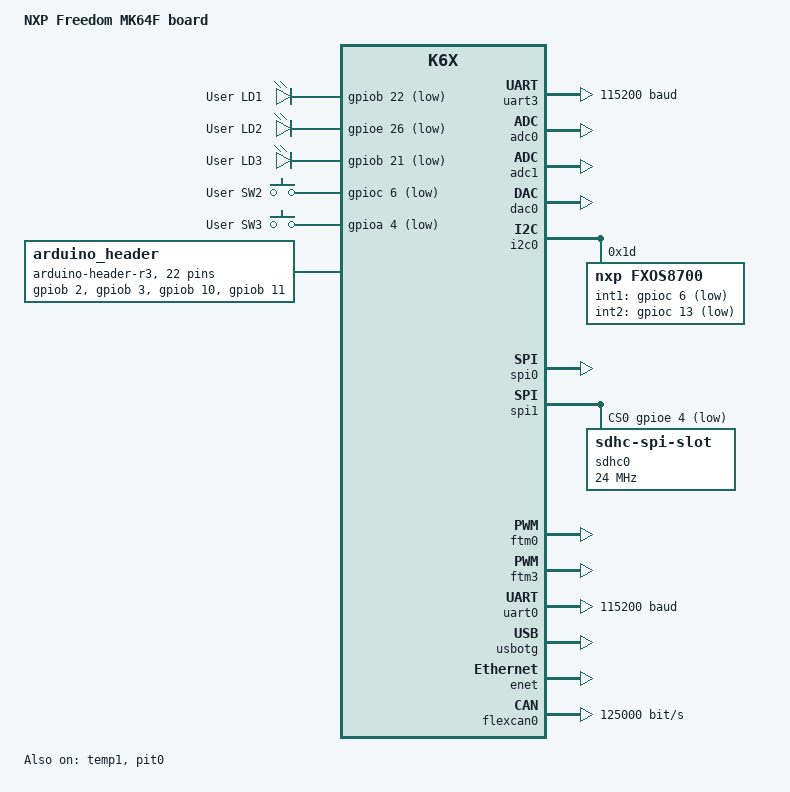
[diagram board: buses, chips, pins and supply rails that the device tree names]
/* SPDX-License-Identifier: Apache-2.0 */

/dts-v1/;

#include <nxp/nxp_k6x.dtsi>
#include "frdm_k64f-pinctrl.dtsi"

/ {
	model = "NXP Freedom MK64F board";
	compatible = "nxp,mk64f12", "nxp,k64f", "nxp,k6x";

	aliases {
		led0 = &green_led;
		led1 = &blue_led;
		led2 = &red_led;
		sw0 = &user_button_3;
		sw1 = &user_button_2;
		magn0 = &fxos8700;
		accel0 = &fxos8700;
	};

	chosen {
		zephyr,sram = &sram0;
		zephyr,flash = &flash0;
		zephyr,code-partition = &slot0_partition;
		zephyr,console = &uart0;
		zephyr,shell-uart = &uart0;
		zephyr,uart-pipe = &uart0;
		zephyr,canbus = &flexcan0;
	};

	leds {
		compatible = "gpio-leds";
		red_led: led_0 {
			gpios = <&gpiob 22 GPIO_ACTIVE_LOW>;
			label = "User LD1";
		};
		green_led: led_1 {
			gpios = <&gpioe 26 GPIO_ACTIVE_LOW>;
			label = "User LD2";
		};
		blue_led: led_2 {
			gpios = <&gpiob 21 GPIO_ACTIVE_LOW>;
			label = "User LD3";
		};
	};

	gpio_keys {
		compatible = "gpio-keys";
		user_button_2: button_0 {
			label = "User SW2";
			gpios = <&gpioc 6 GPIO_ACTIVE_LOW>;
		};
		user_button_3: button_1 {
			label = "User SW3";
			gpios = <&gpioa 4 GPIO_ACTIVE_LOW>;
		};
	};

	arduino_header: connector {
		compatible = "arduino-header-r3";
		#gpio-cells = <2>;
		gpio-map-mask = <0xffffffff 0xffffffc0>;
		gpio-map-pass-thru = <0 0x3f>;
		gpio-map = <0 0 &gpiob 2 0>,	/* A0 */
			   <1 0 &gpiob 3 0>,	/* A1 */
			   <2 0 &gpiob 10 0>,	/* A2 */
			   <3 0 &gpiob 11 0>,	/* A3 */
			   <4 0 &gpioc 11 0>,	/* A4 */
			   <5 0 &gpioc 10 0>,	/* A5 */
			   <6 0 &gpioc 16 0>,	/* D0 */
			   <7 0 &gpioc 17 0>,	/* D1 */
			   <8 0 &gpiob 9 0>,	/* D2 */
			   <9 0 &gpioa 1 0>,	/* D3 */
			   <10 0 &gpiob 23 0>,	/* D4 */
			   <11 0 &gpioa 2 0>,	/* D5 */
			   <12 0 &gpioc 2 0>,	/* D6 */
			   <13 0 &gpioc 3 0>,	/* D7 */
			   /* NOTE: HW Rev D and below use: */
			   /* <14 0 &gpioa 0 0>, */
			   /* NOTE: HW Rev E and on use: */
			   <14 0 &gpioc 12 0>,	/* D8 */
			   <15 0 &gpioc 4 0>,	/* D9 */
			   <16 0 &gpiod 0 0>,	/* D10 */
			   <17 0 &gpiod 2 0>,	/* D11 */
			   <18 0 &gpiod 3 0>,	/* D12 */
			   <19 0 &gpiod 1 0>,	/* D13 */
			   <20 0 &gpioe 25 0>,	/* D14 */
			   <21 0 &gpioe 24 0>;	/* D15 */
	};
};

&sim {
	pllfll-select = <KINETIS_SIM_PLLFLLSEL_MCGPLLCLK>;
	er32k-select = <KINETIS_SIM_ER32KSEL_RTC>;
};

arduino_serial: &uart3 {
	status = "okay";
	current-speed = <115200>;
	pinctrl-0 = <&uart3_default>;
	pinctrl-names = "default";
};

&cpu0 {
	clock-frequency = <120000000>;
};

&adc0 {
	status = "okay";
	pinctrl-0 = <&adc0_default>;
	pinctrl-names = "default";
};

&adc1 {
	status = "okay";
	pinctrl-0 = <&adc1_default>;
	pinctrl-names = "default";
};

&temp1 {
	status = "okay";
};

&dac0 {
	status = "okay";
	voltage-reference = <2>;
};

arduino_i2c: &i2c0 {
	status = "okay";
	pinctrl-0 = <&i2c0_default>;
	pinctrl-names = "default";

	fxos8700: fxos8700@1d {
		compatible = "nxp,fxos8700";
		reg = <0x1d>;
		int1-gpios = <&gpioc 6 GPIO_ACTIVE_LOW>;
		int2-gpios = <&gpioc 13 GPIO_ACTIVE_LOW>;
	};
};

arduino_spi: &spi0 {
	status = "okay";
	pinctrl-0 = <&spi0_default>;
	pinctrl-names = "default";
};

&spi1 {
	status = "okay";
	pinctrl-0 = <&spi1_default>;
	pinctrl-names = "default";
	cs-gpios = <&gpioe 4 GPIO_ACTIVE_LOW>;

	sdhc0: sdhc@0 {
		compatible = "zephyr,sdhc-spi-slot";
		reg = <0>;
		status = "okay";
		mmc {
			compatible = "zephyr,sdmmc-disk";
			status = "okay";
		};
		spi-max-frequency = <24000000>;
	};
};

&ftm0 {
	status = "okay";
	compatible = "nxp,kinetis-ftm-pwm";
	#pwm-cells = <3>;
	pinctrl-0 = <&ftm0_default>;
	pinctrl-names = "default";
};

&ftm3 {
	status = "okay";
	compatible = "nxp,kinetis-ftm-pwm";
	#pwm-cells = <3>;
	pinctrl-0 = <&ftm3_default>;
	pinctrl-names = "default";
};

&uart0 {
	status = "okay";
	current-speed = <115200>;
	pinctrl-0 = <&uart0_default>;
	pinctrl-names = "default";
};

&uart2 {
	pinctrl-0 = <&uart2_default>;
	pinctrl-names = "default";
};

zephyr_udc0: &usbotg {
	compatible = "nxp,kinetis-usbd";
	status = "okay";
	num-bidir-endpoints = <8>;
};

&gpioa {
	status = "okay";
};

&gpiob {
	status = "okay";
};

&gpioc {
	status = "okay";
};

&gpiod {
	status = "okay";
};

&gpioe {
	status = "okay";
};

&flash0 {

	partitions {
		compatible = "fixed-partitions";
		#address-cells = <1>;
		#size-cells = <1>;

		boot_partition: partition@0 {
			label = "mcuboot";
			reg = <0x00000000 0x00010000>;
			read-only;
		};

		/*
		 * The flash starting at 0x00010000 and ending at
		 * 0x0001ffff (sectors 16-31) is reserved for use
		 * by the application.
		 */
		storage_partition: partition@1e000 {
			label = "storage";
			reg = <0x0001e000 0x00002000>;
		};

		slot0_partition: partition@20000 {
			label = "image-0";
			reg = <0x00020000 0x00060000>;
		};
		slot1_partition: partition@80000 {
			label = "image-1";
			reg = <0x00080000 0x00060000>;
		};
		scratch_partition: partition@e0000 {
			label = "image-scratch";
			reg = <0x000e0000 0x00020000>;
		};
	};
};

&enet {
	status = "okay";
	pinctrl-0 = <&enet_default>;
	pinctrl-names = "default";
	ptp {
		/* Be aware that PTC16 and PTC17 are also used for uart3 */
		status = "disabled";
		pinctrl-0 = <&ptp_default>;
		pinctrl-names = "default";
	};
};

&flexcan0 {
	status = "okay";
	pinctrl-0 = <&flexcan0_default>;
	pinctrl-names = "default";
	bus-speed = <125000>;
};

&edma0 {
	status = "okay";
};

&pit0 {
	status = "okay";
};
